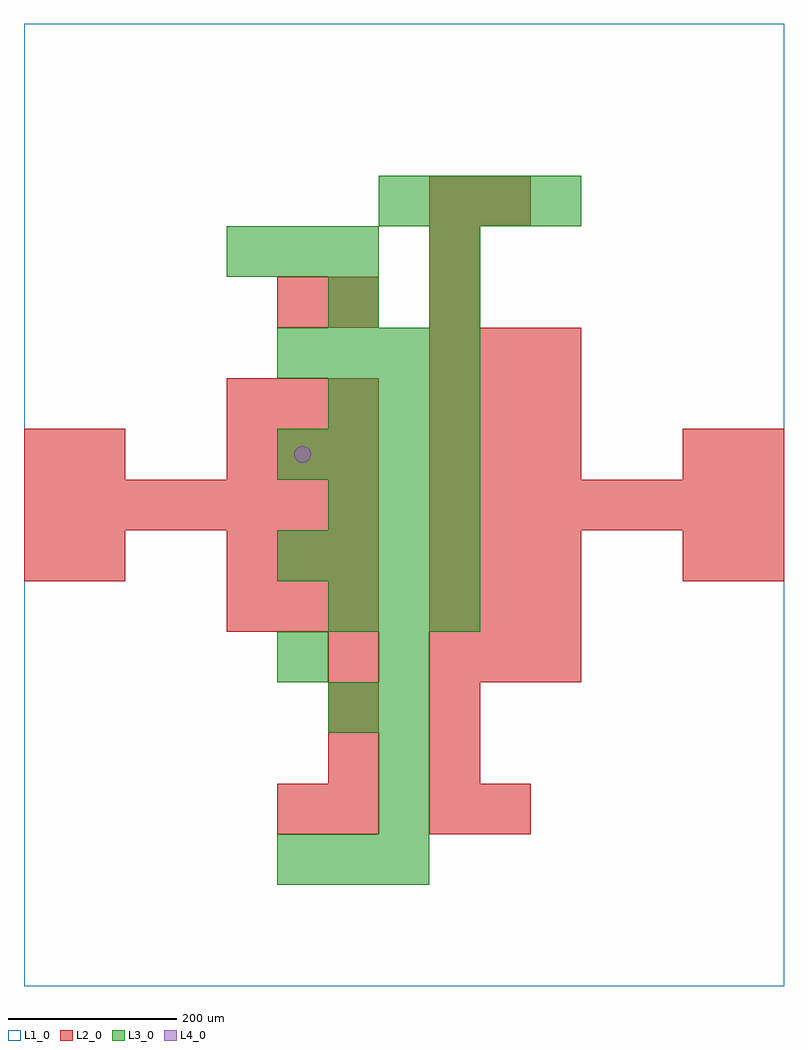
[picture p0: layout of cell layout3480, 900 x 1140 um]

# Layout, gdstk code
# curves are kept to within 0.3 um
import gdstk
lib = gdstk.Library(unit=1e-6, precision=1e-09)
def R(c, l, rs):  # rectangles x0, y0, x1, y1
    for r in rs: c.add(gdstk.rectangle(r[:2], r[2:], *l))
def A(c, l, x, y, w, h, nx, ny, dx, dy):  # array of equal rectangles
    R(c, l, [(x+i*dx, y+j*dy, x+i*dx+w, y+j*dy+h) for i in range(nx) for j in range(ny)])
def P(c, l, *ps):  # polygons
    for p in ps: c.add(gdstk.Polygon(p, *l))
L1_0 = (1, 0)
L2_0 = (2, 0)
L3_0 = (3, 0)
L4_0 = (4, 0)

layout3480 = lib.new_cell('layout3480')
R(layout3480, L1_0, [(0,0,900,1140)])
A(layout3480, L2_0, 360, 180, 60, 60, 1, 4, 0, 60)
A(layout3480, L2_0, 480, 180, 60, 60, 1, 3, 0, 60)
A(layout3480, L2_0, 480, 360, 60, 60, 3, 3, 60, 60)
A(layout3480, L2_0, 240, 420, 60, 60, 3, 2, 60, 60)
A(layout3480, L2_0, 0, 540, 60, 60, 7, 1, 60, 0)
A(layout3480, L2_0, 480, 540, 60, 60, 7, 1, 60, 0)
A(layout3480, L2_0, 240, 600, 60, 60, 3, 2, 60, 60)
A(layout3480, L2_0, 480, 600, 60, 60, 3, 3, 60, 60)
A(layout3480, L2_0, 480, 780, 60, 60, 1, 3, 0, 60)
R(layout3480, L2_0, [(300,180,360,240), (540,180,600,240), (0,480,60,540), (60,480,120,540), (780,480,840,540), (840,480,900,540), (0,600,60,660), (60,600,120,660), (780,600,840,660), (840,600,900,660), (300,780,360,840), (360,780,420,840), (540,900,600,960)])
A(layout3480, L3_0, 300, 120, 60, 60, 3, 1, 60, 0)
A(layout3480, L3_0, 420, 180, 60, 60, 1, 4, 0, 60)
A(layout3480, L3_0, 360, 420, 60, 60, 3, 3, 60, 120)
A(layout3480, L3_0, 300, 480, 60, 60, 4, 3, 60, 120)
A(layout3480, L3_0, 240, 840, 60, 60, 3, 1, 60, 0)
A(layout3480, L3_0, 420, 900, 60, 60, 4, 1, 60, 0)
R(layout3480, L3_0, [(360,300,420,360), (300,360,360,420), (360,780,420,840), (480,780,540,840), (480,840,540,900)])
P(layout3480, L4_0, [(340,630),(339.239,633.827),(337.071,637.071),(333.827,639.239),(330,640),(326.173,639.239),(322.929,637.071),(320.761,633.827),(320,630),(320.761,626.173),(322.929,622.929),(326.173,620.761),(330,620),(333.827,620.761),(337.071,622.929),(339.239,626.173)])

lib.write_gds('layout3480.gds')
